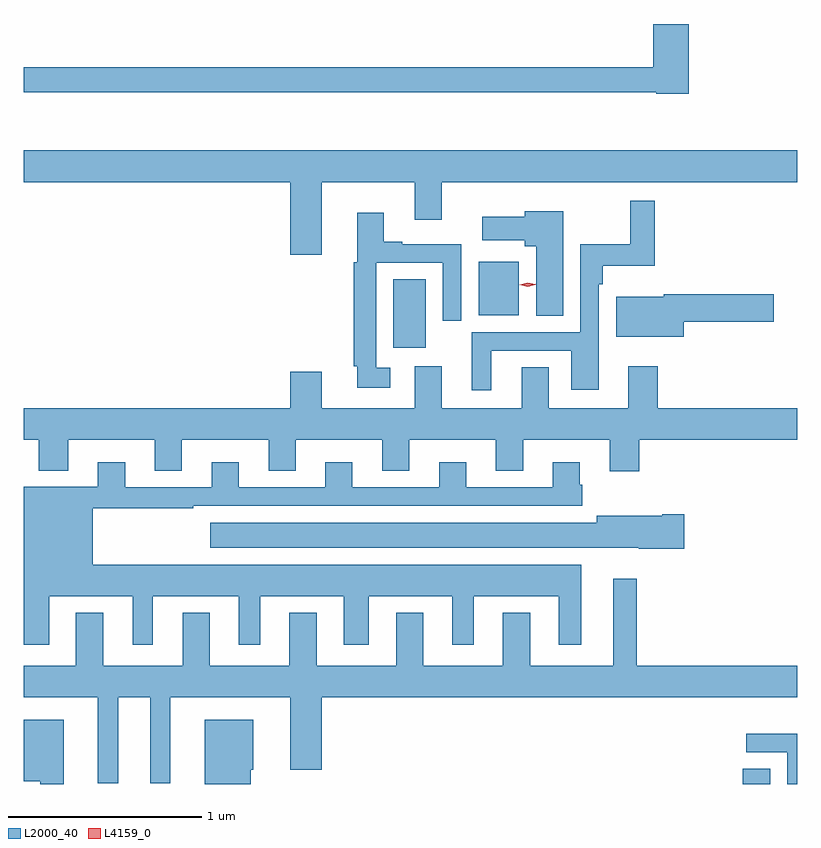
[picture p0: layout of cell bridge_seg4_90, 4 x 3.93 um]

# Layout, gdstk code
import gdstk
lib = gdstk.Library(unit=1e-6, precision=1e-09)
def R(c, l, rs):  # rectangles x0, y0, x1, y1
    for r in rs: c.add(gdstk.rectangle(r[:2], r[2:], *l))
def P(c, l, *ps):  # polygons
    for p in ps: c.add(gdstk.Polygon(p, *l))
L2000_40 = (2000, 40)
L4159_0 = (4159, 0)

bridge_seg4_90 = lib.new_cell('bridge_seg4_90')
R(bridge_seg4_90, L2000_40, [(467.048,780.388,467.191,780.467), (465.242,782.643,465.409,782.999), (465.683,782.813,465.892,783.088)])
P(bridge_seg4_90, L2000_40, [(466.769,784.318),(466.586,784.318),(466.586,784.094),(463.331,784.094),(463.331,783.966),(466.602,783.966),(466.602,783.958),(466.769,783.958)],
  [(464.872,783.5),(465.353,783.5),(465.353,783.306),(465.493,783.306),(465.493,783.5),(467.331,783.5),(467.331,783.664),(463.331,783.664),(463.331,783.5),(464.708,783.5),(464.708,783.126),(464.872,783.126)],
  [(465.748,782.628),(466.163,782.628),(466.163,782.427),(466.305,782.427),(466.305,782.972),(466.325,782.972),(466.325,783.068),(466.595,783.068),(466.595,783.403),(466.467,783.403),(466.467,783.178),(466.209,783.178),(466.209,782.724),(465.649,782.724),(465.649,782.424),(465.748,782.424)],
  [(466.12,783.349),(465.921,783.349),(465.921,783.322),(465.702,783.322),(465.702,783.2),(465.921,783.2),(465.921,783.169),(465.98,783.169),(465.98,782.809),(466.12,782.809)],
  [(465.226,782.541),(465.153,782.541),(465.153,783.084),(465.498,783.084),(465.498,782.784),(465.594,782.784),(465.594,783.18),(465.289,783.18),(465.289,783.193),(465.193,783.193),(465.193,783.343),(465.056,783.343),(465.056,783.087),(465.037,783.087),(465.037,782.548),(465.056,782.548),(465.056,782.436),(465.226,782.436)],
  [(466.744,782.779),(467.209,782.779),(467.209,782.921),(466.64,782.921),(466.64,782.908),(466.394,782.908),(466.394,782.702),(466.744,782.702)],
  [(466.514,782.168),(467.331,782.168),(467.331,782.332),(466.61,782.332),(466.61,782.548),(466.457,782.548),(466.457,782.332),(466.045,782.332),(466.045,782.543),(465.905,782.543),(465.905,782.332),(465.493,782.332),(465.493,782.548),(465.353,782.548),(465.353,782.332),(464.872,782.332),(464.872,782.521),(464.708,782.521),(464.708,782.332),(463.331,782.332),(463.331,782.168),(463.409,782.168),(463.409,782.009),(463.561,782.009),(463.561,782.168),(464.009,782.168),(464.009,782.008),(464.149,782.008),(464.149,782.168),(464.597,782.168),(464.597,782.008),(464.737,782.008),(464.737,782.168),(465.185,782.168),(465.185,782.008),(465.325,782.008),(465.325,782.168),(465.773,782.168),(465.773,782.008),(465.913,782.008),(465.913,782.168),(466.361,782.168),(466.361,782.004),(466.514,782.004)],
  [(463.462,781.358),(463.895,781.358),(463.895,781.107),(463.999,781.107),(463.999,781.358),(464.444,781.358),(464.444,781.107),(464.554,781.107),(464.554,781.358),(464.987,781.358),(464.987,781.107),(465.115,781.107),(465.115,781.358),(465.548,781.358),(465.548,781.107),(465.658,781.107),(465.658,781.358),(466.097,781.358),(466.097,781.107),(466.213,781.107),(466.213,781.522),(463.687,781.522),(463.687,781.815),(464.207,781.815),(464.207,781.827),(466.22,781.827),(466.22,781.935),(466.207,781.935),(466.207,782.053),(466.067,782.053),(466.067,781.923),(465.619,781.923),(465.619,782.053),(465.479,782.053),(465.479,781.923),(465.031,781.923),(465.031,782.053),(464.891,782.053),(464.891,781.923),(464.443,781.923),(464.443,782.053),(464.303,782.053),(464.303,781.923),(463.855,781.923),(463.855,782.053),(463.715,782.053),(463.715,781.924),(463.331,781.924),(463.331,781.107),(463.462,781.107)],
  [(466.747,781.782),(466.634,781.782),(466.634,781.774),(466.295,781.774),(466.295,781.738),(464.295,781.738),(464.295,781.61),(466.512,781.61),(466.512,781.604),(466.747,781.604)],
  [(463.819,780.836),(463.985,780.836),(463.985,780.392),(464.089,780.392),(464.089,780.836),(464.708,780.836),(464.708,780.462),(464.872,780.462),(464.872,780.836),(467.331,780.836),(467.331,781),(466.501,781),(466.501,781.45),(466.379,781.45),(466.379,781),(465.949,781),(465.949,781.273),(465.809,781.273),(465.809,781),(465.397,781),(465.397,781.273),(465.257,781.273),(465.257,781),(464.845,781),(464.845,781.273),(464.705,781.273),(464.705,781),(464.293,781),(464.293,781.273),(464.153,781.273),(464.153,781),(463.741,781),(463.741,781.273),(463.601,781.273),(463.601,781),(463.331,781),(463.331,780.836),(463.715,780.836),(463.715,780.392),(463.819,780.392)],
  [(463.537,780.721),(463.331,780.721),(463.331,780.401),(463.416,780.401),(463.416,780.388),(463.537,780.388)],
  [(464.506,780.462),(464.518,780.462),(464.518,780.721),(464.267,780.721),(464.267,780.388),(464.506,780.388)],
  [(467.331,780.648),(467.067,780.648),(467.067,780.552),(467.28,780.552),(467.28,780.388),(467.331,780.388)])
P(bridge_seg4_90, L4159_0, [(465.937,782.96),(465.896,782.97),(465.896,782.97),(465.896,782.97),(465.937,782.98),(465.977,782.971),(465.978,782.971),(465.977,782.97)])

lib.write_gds('bridge_seg4_90.gds')
